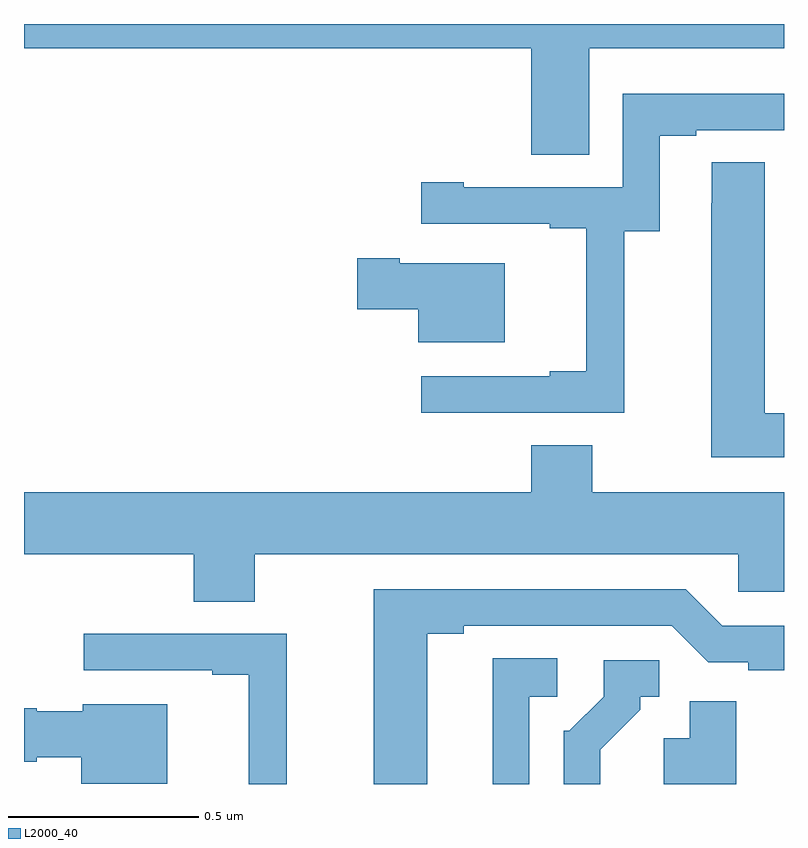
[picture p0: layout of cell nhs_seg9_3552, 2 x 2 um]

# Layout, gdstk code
import gdstk
lib = gdstk.Library(unit=1e-6, precision=1e-09)
def P(c, l, *ps):  # polygons
    for p in ps: c.add(gdstk.Polygon(p, *l))
L2000_40 = (2000, 40)

nhs_seg9_3552 = lib.new_cell('nhs_seg9_3552')
P(nhs_seg9_3552, L2000_40, [(156.487,1180.436),(157,1180.436),(157,1180.5),(155,1180.5),(155,1180.436),(156.335,1180.436),(156.335,1180.156),(156.487,1180.156)],
  [(156.579,1179.955),(156.673,1179.955),(156.673,1180.206),(156.769,1180.206),(156.769,1180.221),(157,1180.221),(157,1180.317),(156.576,1180.317),(156.576,1180.071),(156.157,1180.071),(156.157,1180.084),(156.045,1180.084),(156.045,1179.975),(156.383,1179.975),(156.383,1179.963),(156.479,1179.963),(156.479,1179.586),(156.383,1179.586),(156.383,1179.573),(156.045,1179.573),(156.045,1179.477),(156.579,1179.477)],
  [(157,1179.476),(156.949,1179.476),(156.949,1180.136),(156.81,1180.136),(156.81,1180.028),(156.809,1180.028),(156.809,1179.36),(157,1179.36)],
  [(156.265,1179.871),(155.989,1179.871),(155.989,1179.884),(155.877,1179.884),(155.877,1179.749),(156.038,1179.749),(156.038,1179.662),(156.265,1179.662)],
  [(155.607,1179.104),(156.879,1179.104),(156.879,1179.006),(157,1179.006),(157,1179.268),(156.495,1179.268),(156.495,1179.392),(156.335,1179.392),(156.335,1179.268),(155,1179.268),(155,1179.104),(155.447,1179.104),(155.447,1178.98),(155.607,1178.98)],
  [(156.061,1178.896),(156.157,1178.896),(156.157,1178.916),(156.705,1178.916),(156.801,1178.82),(156.906,1178.82),(156.906,1178.8),(157,1178.8),(157,1178.916),(156.837,1178.916),(156.741,1179.012),(155.921,1179.012),(155.921,1178.5),(156.061,1178.5)],
  [(155.691,1178.895),(155.157,1178.895),(155.157,1178.799),(155.495,1178.799),(155.495,1178.787),(155.591,1178.787),(155.591,1178.5),(155.691,1178.5)],
  [(156.33,1178.73),(156.403,1178.73),(156.403,1178.831),(156.233,1178.831),(156.233,1178.5),(156.33,1178.5)],
  [(156.517,1178.59),(156.622,1178.695),(156.622,1178.73),(156.672,1178.73),(156.672,1178.826),(156.525,1178.826),(156.525,1178.73),(156.435,1178.64),(156.42,1178.64),(156.42,1178.5),(156.517,1178.5)],
  [(156.874,1178.718),(156.752,1178.718),(156.752,1178.62),(156.683,1178.62),(156.683,1178.5),(156.874,1178.5)],
  [(155.377,1178.71),(155.154,1178.71),(155.154,1178.692),(155.034,1178.692),(155.034,1178.7),(155,1178.7),(155,1178.558),(155.034,1178.558),(155.034,1178.57),(155.15,1178.57),(155.15,1178.501),(155.377,1178.501)])

lib.write_gds('nhs_seg9_3552.gds')
